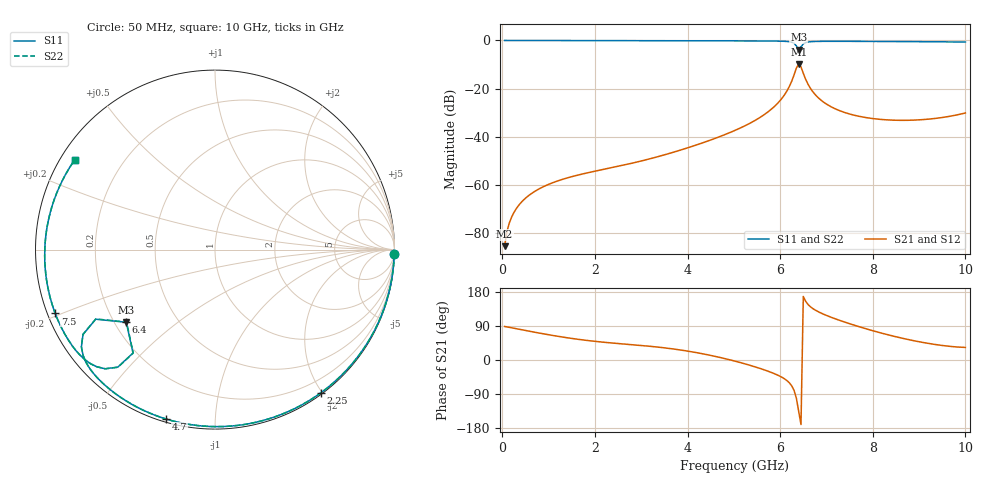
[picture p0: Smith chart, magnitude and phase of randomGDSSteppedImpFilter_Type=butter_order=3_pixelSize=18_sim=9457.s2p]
! freq	dB(S11)	phase(S11)	dB(S12)	phase(S12)
!  dB(S21)	phase(S21)	dB(S22)	phase(S22)
!S-par simulation data
#  GHz  S  DB  R 50
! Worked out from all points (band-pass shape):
!   200 points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, 50 MHz to 10 GHz, reference 50 ohm
!   highest |S21| = -9.73 dB at 6.4 GHz (marker M1); lowest = -85.4 dB at 50 MHz (marker M2)
!   |S21| within 3 dB of the highest: 6.328 GHz to 6.483 GHz (154.3 MHz wide, 2.41 % of centre)
!   lowest |S11| = -3.9 dB at 6.4 GHz (marker M3), VSWR 4.54, Z = 12.3 - j16.9 ohm
!   |S11| at or under -10 dB: nowhere
!   |S22| runs from -3.9 to 0.0 dB; largest |S21 - S12| = 0
!   S11 on the Smith chart (normalised r, x): 50 MHz: 3, -91; 2.25 GHz: 0.02, -1.99; 4.7 GHz: 0.01, -0.75; 6.4 GHz: 0.25, -0.34; 7.5 GHz: 0.02, -0.19; 10 GHz: 0.04, +0.29
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0.05  -0.01 -1.3  -85.43 88.5  -85.43 88.5  -0.01 -1.3
0.1  -0.01 -2.5  -79.42 87.4  -79.42 87.4  -0.01 -2.5
0.2  -0.01 -4.9  -73.41 85.0  -73.41 85.0  -0.01 -4.9
0.3  -0.02 -7.3  -69.91 82.6  -69.91 82.6  -0.02 -7.3
0.6  -0.02 -14.6  -63.99 75.5  -63.99 75.5  -0.02 -14.6
1.05  -0.03 -25.4  -59.37 65.6  -59.37 65.6  -0.03 -25.4
1.75  -0.05 -41.9  -55.37 52.8  -55.37 52.8  -0.05 -41.9
2.25  -0.07 -53.4  -53.29 46.2  -53.29 46.2  -0.07 -53.4
3.4  -0.10 -78.9  -48.06 33.5  -48.06 33.5  -0.10 -78.9
4.7  -0.15 -106.1  -39.91 6.7  -39.91 6.7  -0.15 -106.1
5.05  -0.17 -113.3  -37.14 -3.8  -37.14 -3.8  -0.17 -113.3
5.95  -0.27 -133.0  -26.02 -40.1  -26.02 -40.1  -0.27 -133.0
6.15  -0.42 -139.2  -20.87 -54.7  -20.87 -54.7  -0.42 -139.2
6.3  -1.16 -147.3  -14.35 -80.1  -14.35 -80.1  -1.17 -147.3
6.4  -3.89 -140.7  -9.73 -134.7  -9.73 -134.7  -3.91 -140.7
6.45  -2.67 -128.4  -11.00 -170.2  -11.00 -170.2  -2.68 -128.3
6.5  -1.41 -129.6  -13.66 167.7  -13.66 167.7  -1.42 -129.5
6.7  -0.47 -139.3  -21.16 136.2  -21.16 136.2  -0.47 -139.2
7  -0.36 -147.4  -26.43 117.6  -26.43 117.6  -0.36 -147.4
7.5  -0.37 -158.2  -30.55 95.7  -30.55 95.7  -0.37 -158.2
8.35  -0.44 -175.8  -33.03 65.8  -33.03 65.8  -0.44 -175.8
10  -0.65 147.4  -30.12 33.2  -30.12 33.2  -0.65 147.4
